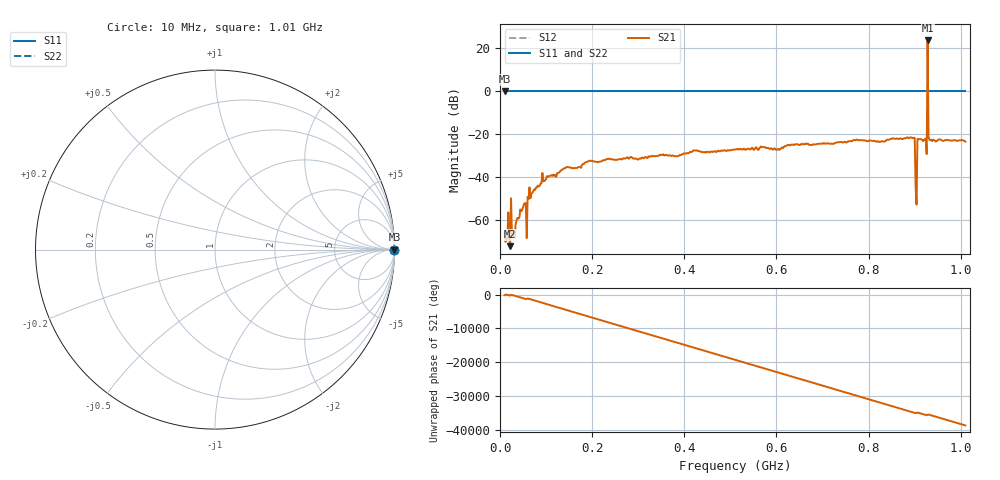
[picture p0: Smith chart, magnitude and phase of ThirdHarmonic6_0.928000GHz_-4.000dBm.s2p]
! 8/16/2025 6:15:45 AM
! C:\ANRITSUVNA\TEMP\TEMP.S2P
! CHANNEL.1
! TR.MEASUREMENT
! RAW.DATA
! RF.CORRECTION.OFF
! AVERAGING.OFF
! IF.BANDWIDTH: 5KHZ
! SWEEPTYPE:  FREQ.SWEEP(Linear)
! Reference Plane Port Info
! PORT:  PORT1  PORT2
! DISTANCE:  0  m  0  m
! TIME:  0  s  0  s
! PHASE.OFFSET:  0  deg.  0  deg.
! LOSS:  0  dB  0  dB
! REF.LOSS:  0  dB  0  dB
! REF.FREQ:  0  Hz  0  Hz
! Power Info
! POWER:  -20  dBm  -20  dBm
! EFF.POWER:  -20  dBm  -20  dBm
! SOURCE.ATTEN:  0  dB  0  dB
! TEST.ATTEN:  0  dB  0  dB
# GHZ S RI R 50.0
! FREQ.GHZ  S11RE  S11IM  S21RE  S21IM  S12RE  S12IM  S22RE  S22IM
!; PortSelection: Port_12
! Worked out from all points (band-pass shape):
!   501 points, 10 MHz to 1.01 GHz, reference 50 ohm
!   highest |S21| = 23.70 dB at 928 MHz (marker M1); lowest = -72.0 dB at 22 MHz (marker M2)
!   |S21| within 3 dB of the highest: 927.8865 MHz to 928.1335 MHz (246.9 kHz wide, 0.0266 % of centre)
!   lowest |S11| = 0.0 dB at 10 MHz (marker M3)
!   |S11| at or under -10 dB: nowhere
!   |S22| runs from 0.0 to 0.0 dB; largest |S21 - S12| = 16
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0.01  1 0  -0.000524 -1.19e-05  1 0  1 0
0.022  1 0  0.000201 0.00015  1 0  1 0
0.03  1 0  0.000325 0.000469  1 0  1 0
0.048  1 0  0.000513 0.00166  1 0  1 0
0.054  1 0  -0.0025 -0.00034  1 0  1 0
0.064  1 0  -0.0053 0.00249  1 0  1 0
0.092  1 0  -0.002 0.0125  1 0  1 0
0.178  1 0  -0.0187 -0.0056  1 0  1 0
0.344  1 0  0.0313 -0.00335  1 0  1 0
0.51  1 0  -0.0436 0.00887  1 0  1 0
0.678  1 0  -0.0133 -0.0551  1 0  1 0
0.844  1 0  0.0393 0.0637  1 0  1 0
0.896  1 0  -0.0351 0.0737  1 0  1 0
0.9  1 0  0.0556 -0.0605  1 0  1 0
0.906  1 0  0.0255 0.0744  1 0  1 0
0.91  1 0  0.00153 -0.0774  1 0  1 0
0.922  1 0  -0.0641 0.0386  1 0  1 0
0.924  1 0  0.0298 0.0746  1 0  1 0
0.928  1 0  -11.16 10.49  1 0  1 0
0.932  1 0  -0.0185 0.0723  1 0  1 0
0.934  1 0  0.0668 0.0312  1 0  1 0
1.01  1 0  -0.0622 -0.0271  1 0  1 0
